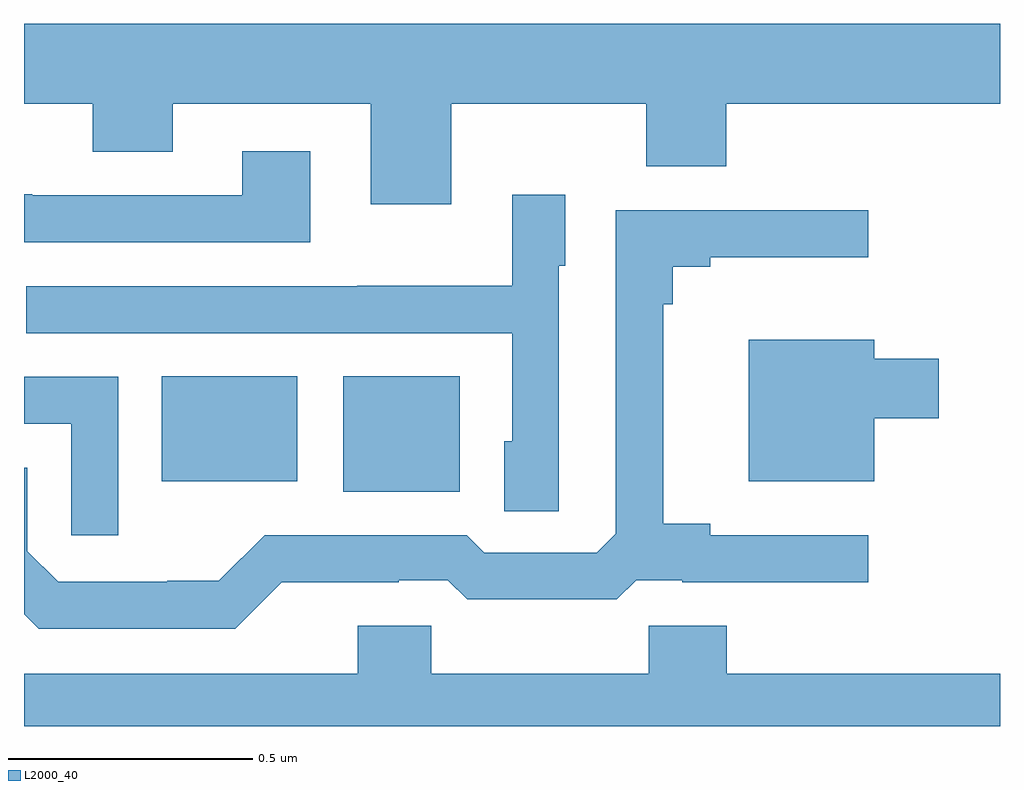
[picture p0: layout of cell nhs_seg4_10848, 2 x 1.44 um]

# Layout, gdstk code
import gdstk
lib = gdstk.Library(unit=1e-6, precision=1e-09)
def R(c, l, rs):  # rectangles x0, y0, x1, y1
    for r in rs: c.add(gdstk.rectangle(r[:2], r[2:], *l))
def P(c, l, *ps):  # polygons
    for p in ps: c.add(gdstk.Polygon(p, *l))
L2000_40 = (2000, 40)

nhs_seg4_10848 = lib.new_cell('nhs_seg4_10848')
R(nhs_seg4_10848, L2000_40, [(245.654,773.381,245.893,773.617), (245.282,773.402,245.56,773.617)])
P(nhs_seg4_10848, L2000_40, [(245.875,774.176),(246.275,774.176),(246.275,774.048),(246.439,774.048),(246.439,774.176),(247,774.176),(247,774.34),(245,774.34),(245,774.176),(245.141,774.176),(245.141,774.077),(245.305,774.077),(245.305,774.176),(245.711,774.176),(245.711,773.97),(245.875,773.97)],
  [(245.587,774.079),(245.447,774.079),(245.447,773.988),(245.017,773.988),(245.017,773.99),(245,773.99),(245,773.892),(245.587,773.892)],
  [(246.096,773.844),(246.109,773.844),(246.109,773.989),(246,773.989),(246,773.803),(245.683,773.803),(245.683,773.802),(245.005,773.802),(245.005,773.706),(246,773.706),(246,773.484),(245.984,773.484),(245.984,773.341),(246.096,773.341)],
  [(245.528,773.195),(245.768,773.195),(245.768,773.199),(245.868,773.199),(245.908,773.16),(246.215,773.16),(246.255,773.199),(246.349,773.199),(246.349,773.195),(246.73,773.195),(246.73,773.292),(246.406,773.292),(246.406,773.315),(246.31,773.315),(246.31,773.765),(246.329,773.765),(246.329,773.842),(246.406,773.842),(246.406,773.861),(246.73,773.861),(246.73,773.958),(246.213,773.958),(246.213,773.295),(246.174,773.256),(245.943,773.256),(245.907,773.292),(245.493,773.292),(245.399,773.198),(245.294,773.198),(245.294,773.196),(245.07,773.196),(245.007,773.259),(245.007,773.43),(245,773.43),(245,773.13),(245.03,773.1),(245.433,773.1)],
  [(246.742,773.531),(246.874,773.531),(246.874,773.653),(246.742,773.653),(246.742,773.692),(246.485,773.692),(246.485,773.402),(246.742,773.402)],
  [(245.193,773.616),(245,773.616),(245,773.52),(245.097,773.52),(245.097,773.292),(245.193,773.292)],
  [(247,773.008),(246.44,773.008),(246.44,773.106),(246.28,773.106),(246.28,773.008),(245.835,773.008),(245.835,773.106),(245.684,773.106),(245.684,773.008),(245,773.008),(245,772.9),(247,772.9)])

lib.write_gds('nhs_seg4_10848.gds')
